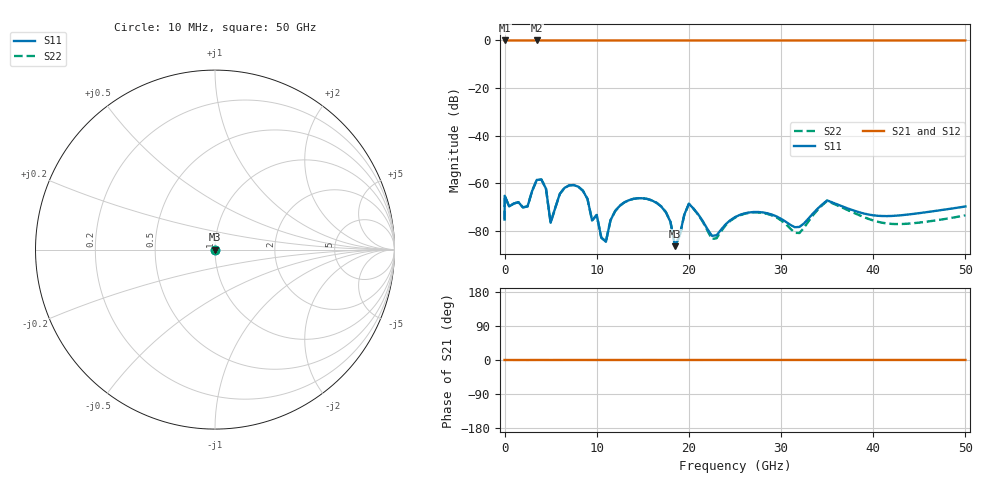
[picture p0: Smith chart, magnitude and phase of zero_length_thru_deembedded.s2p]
!port 1: calibrated at port wall xmin, reference plane 440 um into the layout
!port 2: calibrated at port wall xmax, reference plane 440 um into the layout
! Created with skrf 2.2.0 (http://scikit-rf.org).
# GHz S DB R 50.0
!freq dBS11 angS11 dBS21 angS21 dBS12 angS12 dBS22 angS22
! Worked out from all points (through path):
!   102 points, 10 MHz to 50 GHz, reference 50 ohm
!   highest |S21| = 0.00 dB at 20 MHz (marker M1); lowest = 0.0 dB at 3.5 GHz (marker M2)
!   lowest |S11| = -86.5 dB at 18.5 GHz (marker M3), VSWR 1.00, Z = 50 - j0.00461 ohm
!   |S11| at or under -10 dB: start of sweep to end of sweep
!   |S22| runs from -86.4 to -58.5 dB; largest |S21 - S12| = 4.6e-14
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0.01  -75.29 88.4  -0.00 -0.0  -0.00 -0.0  -75.29 88.4
0.02  -65.28 141.0  0.00 -0.0  0.00 -0.0  -65.28 141.0
2.5  -69.75 85.8  -0.00 -0.0  -0.00 -0.0  -69.75 85.8
3.5  -58.60 -70.2  -0.00 0.1  -0.00 0.1  -58.60 -70.2
4.5  -62.32 -72.0  -0.00 0.1  -0.00 0.1  -62.32 -72.1
5  -76.63 56.2  -0.00 0.0  -0.00 0.0  -76.66 56.2
6.5  -62.01 -86.2  -0.00 0.1  -0.00 0.1  -62.00 -86.3
8.5  -63.15 -89.7  -0.00 0.1  -0.00 0.1  -63.14 -89.8
9.5  -75.70 -87.0  -0.00 0.0  -0.00 0.0  -75.67 -87.5
10  -73.35 85.0  -0.00 0.0  -0.00 0.0  -73.38 85.4
10.5  -82.86 94.4  0.00 0.0  0.00 0.0  -82.93 95.8
13.5  -67.13 -97.4  0.00 0.1  0.00 0.1  -67.11 -97.7
17  -69.79 -92.5  0.00 0.1  0.00 0.1  -69.74 -93.4
18.5  -86.47 -76.3  -0.00 0.1  -0.00 0.1  -86.38 -84.4
20  -68.63 84.7  -0.00 0.1  -0.00 0.1  -68.69 85.9
22  -79.22 53.3  -0.00 0.1  -0.00 0.1  -79.85 57.4
25.5  -73.36 -62.2  -0.00 0.1  -0.00 0.1  -73.55 -66.3
32  -78.37 13.6  -0.00 0.1  -0.00 0.1  -80.93 16.3
33.5  -72.58 60.0  0.00 0.1  0.00 0.1  -73.30 67.8
35  -67.22 74.3  0.00 0.1  0.00 0.1  -67.48 79.5
42  -73.76 21.6  0.00 0.1  0.00 0.1  -77.11 31.1
50  -69.79 19.1  0.00 0.1  0.00 0.1  -73.51 29.3
